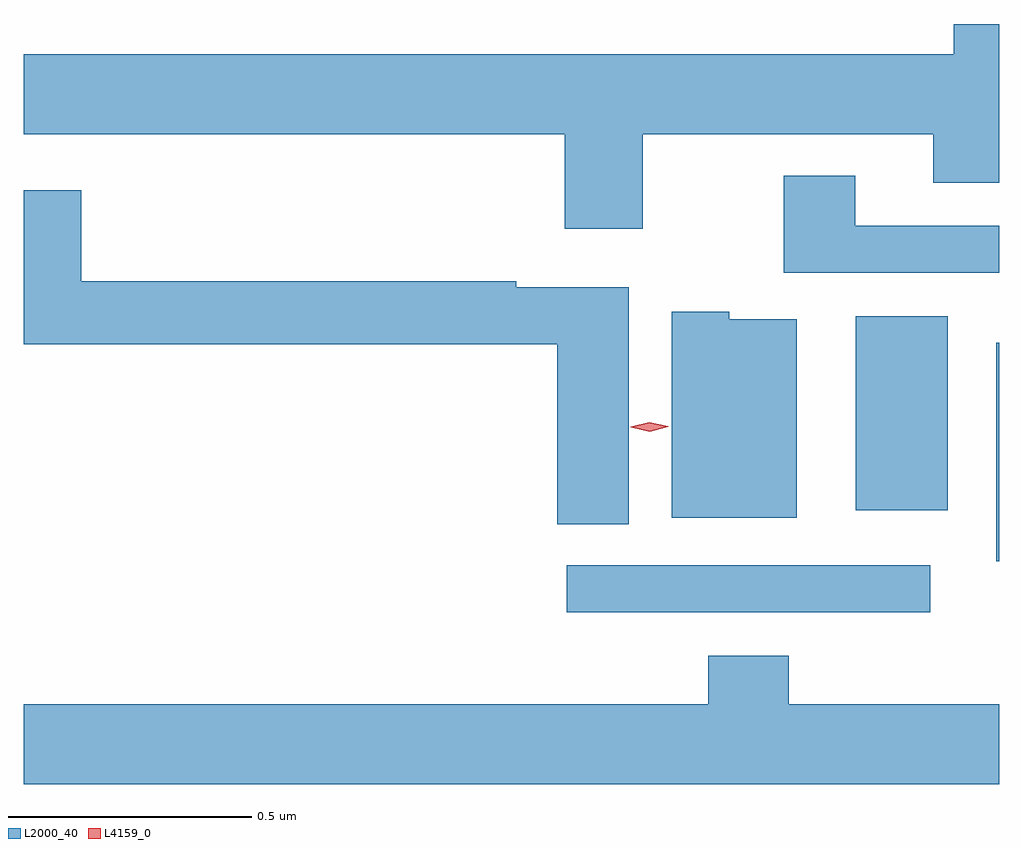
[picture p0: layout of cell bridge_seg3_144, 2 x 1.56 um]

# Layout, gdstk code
import gdstk
lib = gdstk.Library(unit=1e-6, precision=1e-09)
def R(c, l, rs):  # rectangles x0, y0, x1, y1
    for r in rs: c.add(gdstk.rectangle(r[:2], r[2:], *l))
def P(c, l, *ps):  # polygons
    for p in ps: c.add(gdstk.Polygon(p, *l))
L2000_40 = (2000, 40)
L4159_0 = (4159, 0)

bridge_seg3_144 = lib.new_cell('bridge_seg3_144')
R(bridge_seg3_144, L2000_40, [(354.069,689.28,354.814,689.376), (354.95,689.385,354.956,689.833), (354.662,689.489,354.85,689.887)])
P(bridge_seg3_144, L2000_40, [(354.225,690.26),(354.821,690.26),(354.821,690.161),(354.956,690.161),(354.956,690.486),(354.863,690.486),(354.863,690.424),(352.956,690.424),(352.956,690.26),(354.065,690.26),(354.065,690.066),(354.225,690.066)],
  [(354.956,690.072),(354.661,690.072),(354.661,690.175),(354.514,690.175),(354.514,689.976),(354.956,689.976)],
  [(354.196,689.946),(353.966,689.946),(353.966,689.959),(353.074,689.959),(353.074,690.145),(352.956,690.145),(352.956,689.83),(354.05,689.83),(354.05,689.461),(354.196,689.461)],
  [(354.541,689.881),(354.402,689.881),(354.402,689.896),(354.284,689.896),(354.284,689.474),(354.541,689.474)],
  [(354.956,689.092),(354.524,689.092),(354.524,689.191),(354.359,689.191),(354.359,689.092),(352.956,689.092),(352.956,688.928),(354.956,688.928)])
P(bridge_seg3_144, L4159_0, [(354.239,689.65),(354.2,689.659),(354.2,689.66),(354.2,689.66),(354.238,689.67),(354.277,689.661),(354.277,689.66),(354.277,689.66)])

lib.write_gds('bridge_seg3_144.gds')
